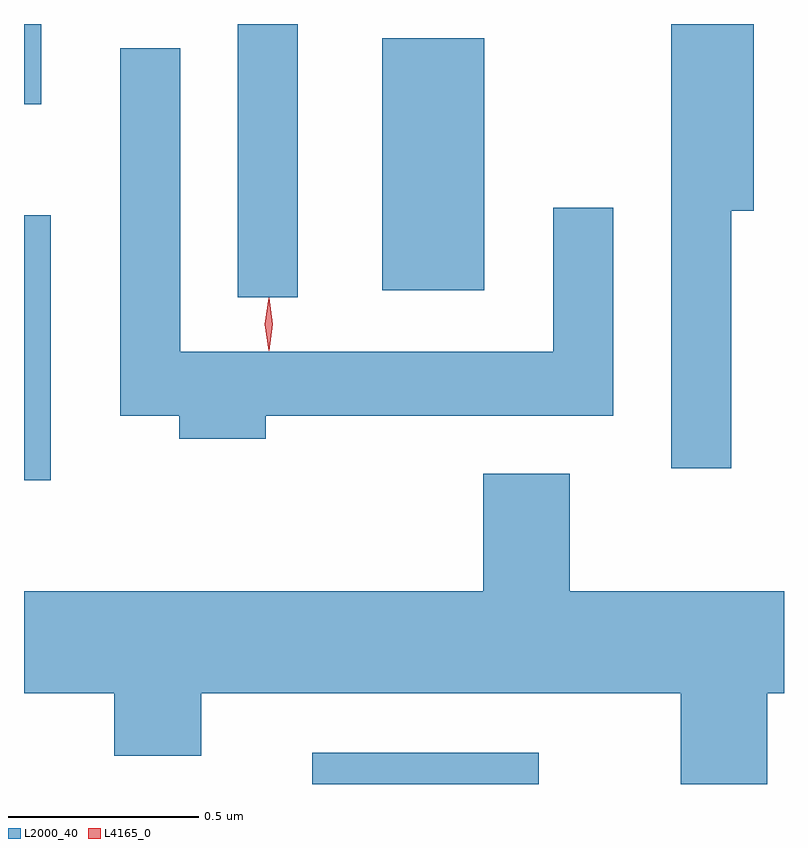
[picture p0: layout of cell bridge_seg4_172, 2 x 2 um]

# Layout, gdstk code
import gdstk
lib = gdstk.Library(unit=1e-6, precision=1e-09)
def R(c, l, rs):  # rectangles x0, y0, x1, y1
    for r in rs: c.add(gdstk.rectangle(r[:2], r[2:], *l))
def P(c, l, *ps):  # polygons
    for p in ps: c.add(gdstk.Polygon(p, *l))
L2000_40 = (2000, 40)
L4165_0 = (4165, 0)

bridge_seg4_172 = lib.new_cell('bridge_seg4_172')
R(bridge_seg4_172, L2000_40, [(870.711,1272.297,871.308,1272.379), (869.953,1273.096,870.024,1273.794), (870.516,1273.578,870.674,1274.297), (870.896,1273.596,871.164,1274.259), (869.953,1274.086,869.999,1274.297)])
P(bridge_seg4_172, L2000_40, [(871.814,1273.806),(871.874,1273.806),(871.874,1274.297),(871.656,1274.297),(871.656,1273.128),(871.814,1273.128)],
  [(870.589,1273.266),(871.504,1273.266),(871.504,1273.813),(871.346,1273.813),(871.346,1273.434),(870.364,1273.434),(870.364,1274.233),(870.206,1274.233),(870.206,1273.266),(870.361,1273.266),(870.361,1273.206),(870.589,1273.206)],
  [(871.909,1272.536),(871.953,1272.536),(871.953,1272.804),(871.389,1272.804),(871.389,1273.114),(871.161,1273.114),(871.161,1272.804),(869.953,1272.804),(869.953,1272.536),(870.191,1272.536),(870.191,1272.371),(870.419,1272.371),(870.419,1272.536),(871.681,1272.536),(871.681,1272.297),(871.909,1272.297)])
P(bridge_seg4_172, L4165_0, [(870.597,1273.437),(870.597,1273.437),(870.587,1273.507),(870.597,1273.576),(870.597,1273.576),(870.598,1273.576),(870.607,1273.507),(870.598,1273.437)])

lib.write_gds('bridge_seg4_172.gds')
